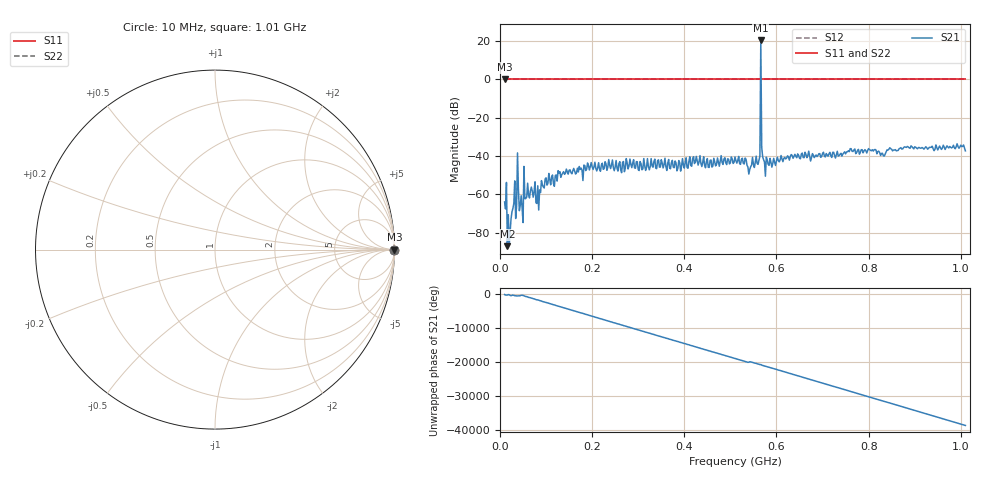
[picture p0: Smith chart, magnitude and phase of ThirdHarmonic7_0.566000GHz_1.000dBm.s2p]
! 8/17/2025 5:23:11 PM
! C:\ANRITSUVNA\TEMP\TEMP.S2P
! CHANNEL.1
! TR.MEASUREMENT
! RAW.DATA
! RF.CORRECTION.OFF
! AVERAGING.OFF
! IF.BANDWIDTH: 5KHZ
! SWEEPTYPE:  FREQ.SWEEP(Linear)
! Reference Plane Port Info
! PORT:  PORT1  PORT2
! DISTANCE:  0  m  0  m
! TIME:  0  s  0  s
! PHASE.OFFSET:  0  deg.  0  deg.
! LOSS:  0  dB  0  dB
! REF.LOSS:  0  dB  0  dB
! REF.FREQ:  0  Hz  0  Hz
! Power Info
! POWER:  -20  dBm  -20  dBm
! EFF.POWER:  -20  dBm  -20  dBm
! SOURCE.ATTEN:  0  dB  0  dB
! TEST.ATTEN:  0  dB  0  dB
# GHZ S RI R 50.0
! FREQ.GHZ  S11RE  S11IM  S21RE  S21IM  S12RE  S12IM  S22RE  S22IM
!; PortSelection: Port_12
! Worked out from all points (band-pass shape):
!   501 points, 10 MHz to 1.01 GHz, reference 50 ohm
!   highest |S21| = 20.36 dB at 566 MHz (marker M1); lowest = -87.0 dB at 16 MHz (marker M2)
!   |S21| within 3 dB of the highest: 565.9007 MHz to 566.1075 MHz (206.8 kHz wide, 0.0365 % of centre)
!   lowest |S11| = 0.0 dB at 10 MHz (marker M3)
!   |S11| at or under -10 dB: nowhere
!   |S22| runs from 0.0 to 0.0 dB; largest |S21 - S12| = 11
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0.01  1 0  0.000171 -0.000612  1 0  1 0
0.016  1 0  -2.9e-05 3.39e-05  1 0  1 0
0.02  1 0  -3.93e-05 -3.09e-05  1 0  1 0
0.036  1 0  -0.000289 -0.000404  1 0  1 0
0.038  1 0  -0.00392 -0.0115  1 0  1 0
0.042  1 0  -1.61e-05 -0.000375  1 0  1 0
0.046  1 0  -0.000251 0.000888  1 0  1 0
0.056  1 0  0.000285 0.000731  1 0  1 0
0.082  1 0  -0.00143 0.000879  1 0  1 0
0.102  1 0  0.00153 0.000859  1 0  1 0
0.178  1 0  -0.00422 -0.000599  1 0  1 0
0.344  1 0  0.00734 -0.00317  1 0  1 0
0.51  1 0  -0.00948 -0.000911  1 0  1 0
0.542  1 0  0.0018 -0.00411  1 0  1 0
0.56  1 0  0.00608 -0.000283  1 0  1 0
0.562  1 0  0.00346 -0.00698  1 0  1 0
0.566  1 0  -9.649 -3.948  1 0  1 0
0.57  1 0  0.00385 -0.00881  1 0  1 0
0.572  1 0  -0.00705 -0.004  1 0  1 0
0.678  1 0  0.00462 -0.0106  1 0  1 0
0.844  1 0  -0.00477 0.0144  1 0  1 0
1.01  1 0  -0.00138 -0.0137  1 0  1 0
